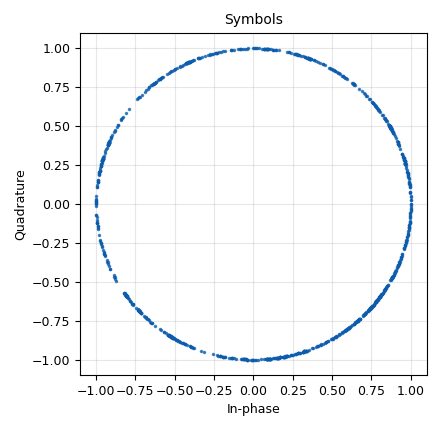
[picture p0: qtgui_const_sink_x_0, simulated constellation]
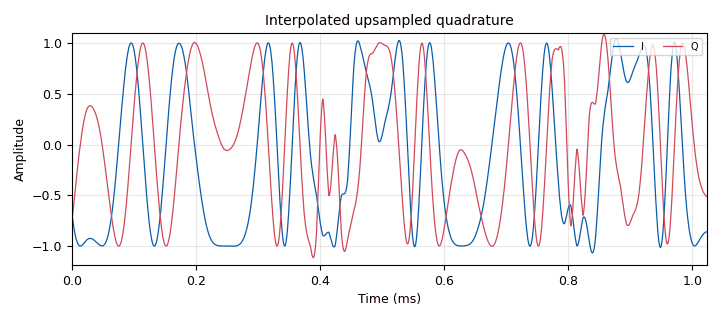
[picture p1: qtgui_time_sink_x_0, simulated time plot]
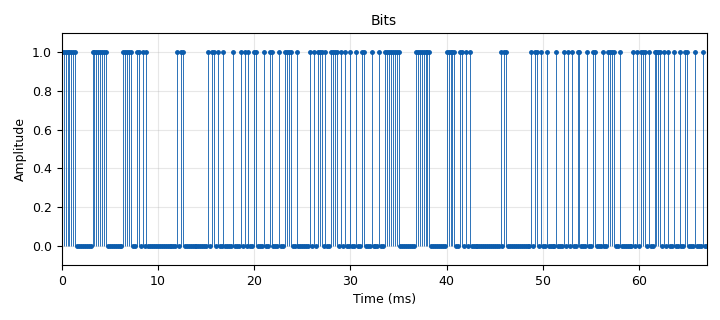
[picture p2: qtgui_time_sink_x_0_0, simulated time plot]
<?xml version='1.0' encoding='utf-8'?>
<?grc format='1' created='3.7.13'?>
<flow_graph>
<block>
<key>options</key>
<param><key>id</key><value>fsk_tx</value></param>
<param><key>author</key><value>Leonardo S. Cardoso</value></param>
<param><key>generate_options</key><value>qt_gui</value></param>
<param><key>title</key><value>FSK transmitter</value></param>
</block>
<block>
<key>variable</key>
<param><key>id</key><value>bit_rate</value></param>
<param><key>value</key><value>5e3</value></param>
</block>
<block>
<key>variable</key>
<param><key>id</key><value>fc</value></param>
<param><key>value</key><value>433e6</value></param>
</block>
<block>
<key>variable</key>
<param><key>id</key><value>header</value></param>
<param><key>value</key><value>[255, 0, 255, 0, 249, 168]</value></param>
</block>
<block>
<key>variable</key>
<param><key>id</key><value>mod_rate</value></param>
<param><key>value</key><value>bit_rate*oversample_factor</value></param>
</block>
<block>
<key>variable</key>
<param><key>id</key><value>oversample_factor</value></param>
<param><key>value</key><value>20</value></param>
</block>
<block>
<key>variable</key>
<param><key>id</key><value>payload</value></param>
<param><key>value</key><value>"HELLO WORLD"</value></param>
</block>
<block>
<key>variable</key>
<param><key>id</key><value>pkt_vec</value></param>
<param><key>value</key><value>header + [0, len(payload), 0, len(payload)] + [ ord(x) for x in payload ]</value></param>
</block>
<block>
<key>variable</key>
<param><key>id</key><value>samp_rate</value></param>
<param><key>value</key><value>1e6</value></param>
</block>
<block>
<key>analog_nbfm_tx</key>
<param><key>id</key><value>analog_nbfm_tx_0</value></param>
<param><key>audio_rate</key><value>int(bit_rate)</value></param>
<param><key>max_dev</key><value>5e3</value></param>
<param><key>fh</key><value>-1.0</value></param>
<param><key>quad_rate</key><value>int(mod_rate)</value></param>
<param><key>tau</key><value>75e-6</value></param>
</block>
<block>
<key>blocks_message_strobe</key>
<param><key>id</key><value>blocks_message_strobe_0</value></param>
<param><key>msg</key><value>pmt.cons(pmt.make_dict(), pmt.init_u8vector(len(pkt_vec), pkt_vec))</value></param>
<param><key>period</key><value>50</value></param>
</block>
<block>
<key>blocks_pdu_to_tagged_stream</key>
<param><key>id</key><value>blocks_pdu_to_tagged_stream_0</value></param>
<param><key>type</key><value>byte</value></param>
<param><key>tag</key><value>packet_len</value></param>
</block>
<block>
<key>blocks_repack_bits_bb</key>
<param><key>id</key><value>blocks_repack_bits_bb_0</value></param>
<param><key>k</key><value>8</value></param>
<param><key>l</key><value>1</value></param>
<param><key>endianness</key><value>gr.GR_MSB_FIRST</value></param>
</block>
<block>
<key>blocks_tag_debug</key>
<param><key>id</key><value>blocks_tag_debug_0</value></param>
<param><key>_enabled</key><value>0</value></param>
<param><key>type</key><value>complex</value></param>
</block>
<block>
<key>blocks_tagged_stream_multiply_length</key>
<param><key>id</key><value>blocks_tagged_stream_multiply_length_0</value></param>
<param><key>type</key><value>complex</value></param>
<param><key>c</key><value>8*oversample_factor*(samp_rate/mod_rate)</value></param>
<param><key>lengthtagname</key><value>packet_len</value></param>
</block>
<block>
<key>blocks_uchar_to_float</key>
<param><key>id</key><value>blocks_uchar_to_float_0</value></param>
</block>
<block>
<key>blocks_vector_source_x</key>
<param><key>id</key><value>blocks_vector_source_x_0</value></param>
<param><key>_enabled</key><value>0</value></param>
<param><key>type</key><value>byte</value></param>
<param><key>repeat</key><value>True</value></param>
<param><key>vector</key><value>[255, 0] * 5 + [72, 69, 76, 76, 79, 32, 87, 79, 82, 76, 68] + [0] * 10</value></param>
</block>
<block>
<key>digital_chunks_to_symbols_xx</key>
<param><key>id</key><value>digital_chunks_to_symbols_xx_0</value></param>
<param><key>dimension</key><value>1</value></param>
<param><key>in_type</key><value>byte</value></param>
<param><key>out_type</key><value>float</value></param>
<param><key>symbol_table</key><value>[-1,1]</value></param>
</block>
<block>
<key>fractional_resampler_xx</key>
<param><key>id</key><value>fractional_resampler_xx_0</value></param>
<param><key>phase_shift</key><value>0</value></param>
<param><key>resamp_ratio</key><value>mod_rate/samp_rate</value></param>
<param><key>type</key><value>complex</value></param>
</block>
<block>
<key>import</key>
<param><key>id</key><value>import_0</value></param>
<param><key>import</key><value>import pmt</value></param>
</block>
<block>
<key>note</key>
<param><key>id</key><value>note_0</value></param>
<param><key>note</key><value>binary out</value></param>
</block>
<block>
<key>note</key>
<param><key>id</key><value>note_1</value></param>
<param><key>note</key><value>symb out</value></param>
</block>
<block>
<key>note</key>
<param><key>id</key><value>note_1_0</value></param>
<param><key>note</key><value>quad symb out</value></param>
</block>
<block>
<key>note</key>
<param><key>id</key><value>note_1_0_0</value></param>
<param><key>note</key><value>interp symb out</value></param>
</block>
<block>
<key>pluto_sink</key>
<param><key>id</key><value>pluto_sink_0</value></param>
<param><key>attenuation</key><value>10.0</value></param>
<param><key>buffer_size</key><value>0x8000</value></param>
<param><key>cyclic</key><value>False</value></param>
<param><key>_enabled</key><value>0</value></param>
<param><key>auto_filter</key><value>True</value></param>
<param><key>filter</key><value></value></param>
<param><key>uri</key><value></value></param>
<param><key>frequency</key><value>fc</value></param>
<param><key>bandwidth</key><value>20e6</value></param>
<param><key>samplerate</key><value>int(samp_rate)</value></param>
</block>
<block>
<key>qtgui_const_sink_x</key>
<param><key>id</key><value>qtgui_const_sink_x_0</value></param>
<param><key>gui_hint</key><value>0,1,1,1</value></param>
<param><key>legend</key><value>False</value></param>
<param><key>name</key><value>"Symbols"</value></param>
<param><key>size</key><value>1024</value></param>
<param><key>type</key><value>complex</value></param>
<param><key>xmax</key><value>1.1</value></param>
<param><key>xmin</key><value>-1.1</value></param>
<param><key>ymax</key><value>1.1</value></param>
<param><key>ymin</key><value>-1.1</value></param>
</block>
<block>
<key>qtgui_time_sink_x</key>
<param><key>id</key><value>qtgui_time_sink_x_0</value></param>
<param><key>gui_hint</key><value>1,0,1,2</value></param>
<param><key>grid</key><value>True</value></param>
<param><key>color1</key><value>"blue"</value></param>
<param><key>label1</key><value>I</value></param>
<param><key>color2</key><value>"red"</value></param>
<param><key>label2</key><value>Q</value></param>
<param><key>name</key><value>"Interpolated upsampled quadrature"</value></param>
<param><key>size</key><value>1024</value></param>
<param><key>srate</key><value>samp_rate</value></param>
<param><key>type</key><value>complex</value></param>
<param><key>ymax</key><value>1.1</value></param>
<param><key>ymin</key><value>-1.1</value></param>
</block>
<block>
<key>qtgui_time_sink_x</key>
<param><key>id</key><value>qtgui_time_sink_x_0_0</value></param>
<param><key>gui_hint</key><value>0,0,1,1</value></param>
<param><key>legend</key><value>False</value></param>
<param><key>color1</key><value>"blue"</value></param>
<param><key>label1</key><value>bits</value></param>
<param><key>marker1</key><value>0</value></param>
<param><key>name</key><value>"Bits"</value></param>
<param><key>size</key><value>168*2</value></param>
<param><key>srate</key><value>bit_rate</value></param>
<param><key>stemplot</key><value>True</value></param>
<param><key>tr_level</key><value>0.1</value></param>
<param><key>tr_mode</key><value>qtgui.TRIG_MODE_TAG</value></param>
<param><key>tr_tag</key><value>"packet_len"</value></param>
<param><key>type</key><value>float</value></param>
<param><key>ymax</key><value>1.1</value></param>
<param><key>ymin</key><value>-0.1</value></param>
</block>
<block>
<key>uhd_usrp_sink</key>
<param><key>id</key><value>uhd_usrp_sink_0</value></param>
<param><key>ant0</key><value>TX/RX</value></param>
<param><key>center_freq0</key><value>fc</value></param>
<param><key>norm_gain0</key><value>False</value></param>
<param><key>gain0</key><value>30</value></param>
<param><key>clock_rate</key><value>0.0</value></param>
<param><key>dev_args</key><value>""</value></param>
<param><key>type</key><value>fc32</value></param>
<param><key>samp_rate</key><value>samp_rate</value></param>
<param><key>hide_cmd_port</key><value>False</value></param>
<param><key>hide_lo_controls</key><value>True</value></param>
<param><key>sync</key><value></value></param>
<param><key>len_tag_name</key><value>"packet_len"</value></param>
</block>
<connection><source_block_id>analog_nbfm_tx_0</source_block_id><sink_block_id>fractional_resampler_xx_0</sink_block_id><source_key>0</source_key><sink_key>0</sink_key></connection>
<connection><source_block_id>analog_nbfm_tx_0</source_block_id><sink_block_id>qtgui_const_sink_x_0</sink_block_id><source_key>0</source_key><sink_key>0</sink_key></connection>
<connection><source_block_id>blocks_message_strobe_0</source_block_id><sink_block_id>blocks_pdu_to_tagged_stream_0</sink_block_id><source_key>strobe</source_key><sink_key>pdus</sink_key></connection>
<connection><source_block_id>blocks_pdu_to_tagged_stream_0</source_block_id><sink_block_id>blocks_repack_bits_bb_0</sink_block_id><source_key>0</source_key><sink_key>0</sink_key></connection>
<connection><source_block_id>blocks_repack_bits_bb_0</source_block_id><sink_block_id>blocks_uchar_to_float_0</sink_block_id><source_key>0</source_key><sink_key>0</sink_key></connection>
<connection><source_block_id>blocks_repack_bits_bb_0</source_block_id><sink_block_id>digital_chunks_to_symbols_xx_0</sink_block_id><source_key>0</source_key><sink_key>0</sink_key></connection>
<connection><source_block_id>blocks_tagged_stream_multiply_length_0</source_block_id><sink_block_id>blocks_tag_debug_0</sink_block_id><source_key>0</source_key><sink_key>0</sink_key></connection>
<connection><source_block_id>blocks_tagged_stream_multiply_length_0</source_block_id><sink_block_id>pluto_sink_0</sink_block_id><source_key>0</source_key><sink_key>0</sink_key></connection>
<connection><source_block_id>blocks_tagged_stream_multiply_length_0</source_block_id><sink_block_id>uhd_usrp_sink_0</sink_block_id><source_key>0</source_key><sink_key>0</sink_key></connection>
<connection><source_block_id>blocks_uchar_to_float_0</source_block_id><sink_block_id>qtgui_time_sink_x_0_0</sink_block_id><source_key>0</source_key><sink_key>0</sink_key></connection>
<connection><source_block_id>blocks_vector_source_x_0</source_block_id><sink_block_id>blocks_repack_bits_bb_0</sink_block_id><source_key>0</source_key><sink_key>0</sink_key></connection>
<connection><source_block_id>digital_chunks_to_symbols_xx_0</source_block_id><sink_block_id>analog_nbfm_tx_0</sink_block_id><source_key>0</source_key><sink_key>0</sink_key></connection>
<connection><source_block_id>fractional_resampler_xx_0</source_block_id><sink_block_id>blocks_tagged_stream_multiply_length_0</sink_block_id><source_key>0</source_key><sink_key>0</sink_key></connection>
<connection><source_block_id>fractional_resampler_xx_0</source_block_id><sink_block_id>qtgui_time_sink_x_0</sink_block_id><source_key>0</source_key><sink_key>0</sink_key></connection>
</flow_graph>
